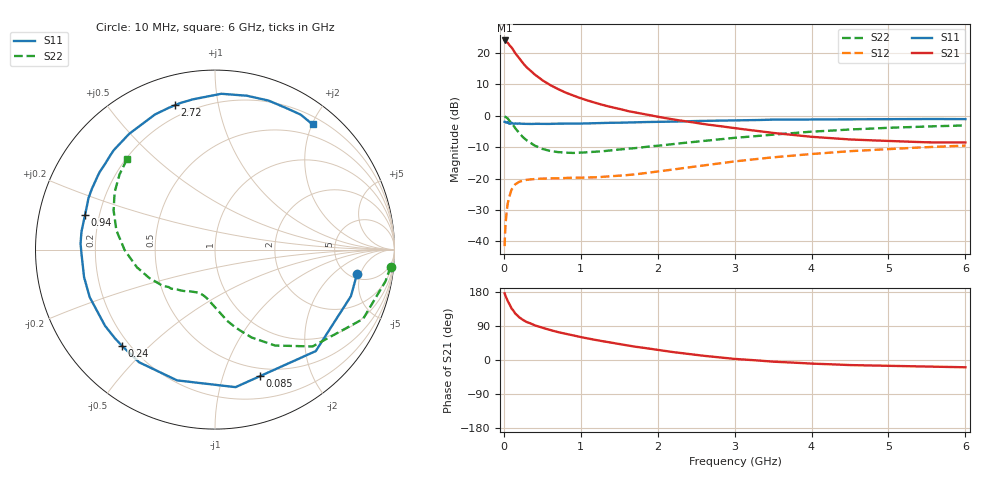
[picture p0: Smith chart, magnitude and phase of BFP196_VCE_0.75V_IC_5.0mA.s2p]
! Infineon Technologies  Discrete & RF Semiconductors
! BFP196
! VCE = 0.75V,  IC = 5.0mA
! Common Emitter S-Parameters:  Jan 2016
# GHz  S  MA  R  50
!  f  S11  S21  S12  S22
! GHz  MAG  ANG  MAG  ANG  MAG  ANG  MAG  ANG
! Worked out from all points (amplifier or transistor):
!   210 points, 10 MHz to 6 GHz, reference 50 ohm
!   highest |S21| = 24.0 dB at 10 MHz (marker M1)
!   |S21| within 3 dB of that: start of sweep to 120.8 MHz
!   unconditionally stable (mu >= 1): 1.073 GHz to end of sweep
!   at 185 MHz: K = 0.20, MSG = 20.0 dB, |S12| = -21.3 dB
!   at 1.52 GHz: K = 1.21, MAG = 7.8 dB, |S12| = -19.0 dB
!   at 6 GHz: K = 1.05, MAG = -0.9 dB, |S12| = -9.5 dB
!   S11 on the Smith chart (normalised r, x): 10 MHz: 5.71, -4.39; 85 MHz: 0.41, -1.33; 240 MHz: 0.17, -0.41; 940 MHz: 0.15, +0.13; 2.72 GHz: 0.14, +0.75; 6 GHz: 0.31, +2.01
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0.01  0.8029 -9.8  15.83 175.9  0.0084 86.8  0.9832 -5.5
0.02  0.8005 -18.9  15.38 169.6  0.0168 80.4  0.9663 -10.5
0.05  0.7968 -45.2  14.55 155.5  0.0401 67.0  0.9109 -25.1
0.085  0.7486 -70.6  12.8 142.6  0.0585 53.9  0.7988 -38.2
0.1  0.7749 -81.5  12.28 136.1  0.0669 50.5  0.766 -44.8
0.15  0.7586 -106.2  9.873 122.2  0.0813 39.4  0.6311 -57.9
0.2  0.7569 -123.9  8.211 112.6  0.0889 32.3  0.5304 -67.4
0.24  0.7457 -134.0  7.106 107.0  0.0921 28.3  0.4685 -73.1
0.3  0.7454 -145.3  5.858 100.0  0.0957 24.3  0.4043 -80.1
0.4  0.7468 -159.2  4.558 91.5  0.0988 20.3  0.3361 -87.8
0.5  0.7455 -168.2  3.683 85.0  0.1 18.3  0.2973 -94.0
0.6  0.743 -176.2  3.1 79.0  0.1007 17.6  0.276 -99.1
0.7  0.7498 177.5  2.679 73.7  0.101 17.3  0.2646 -103.4
0.94  0.7491 165.2  2.018 63.1  0.1033 18.3  0.2573 -111.4
1.02  0.7535 161.3  1.866 59.7  0.1035 19.1  0.2599 -113.9
1.4  0.7744 146.1  1.371 45.6  0.1087 23.5  0.2826 -124.6
2.02  0.803 125.7  0.957 26.0  0.1308 31.0  0.335 -141.7
2.72  0.8347 105.5  0.707 8.7  0.1702 32.2  0.4115 -160.1
3.1  0.8481 96.3  0.614 1.6  0.1937 29.8  0.4555 -169.9
4.1  0.8755 76.7  0.454 -10.2  0.2514 20.2  0.5672 166.9
5.1  0.8834 62.5  0.393 -15.7  0.2997 8.7  0.6494 148.5
6  0.8845 52.0  0.376 -19.2  0.3355 -2.3  0.7035 134.1
